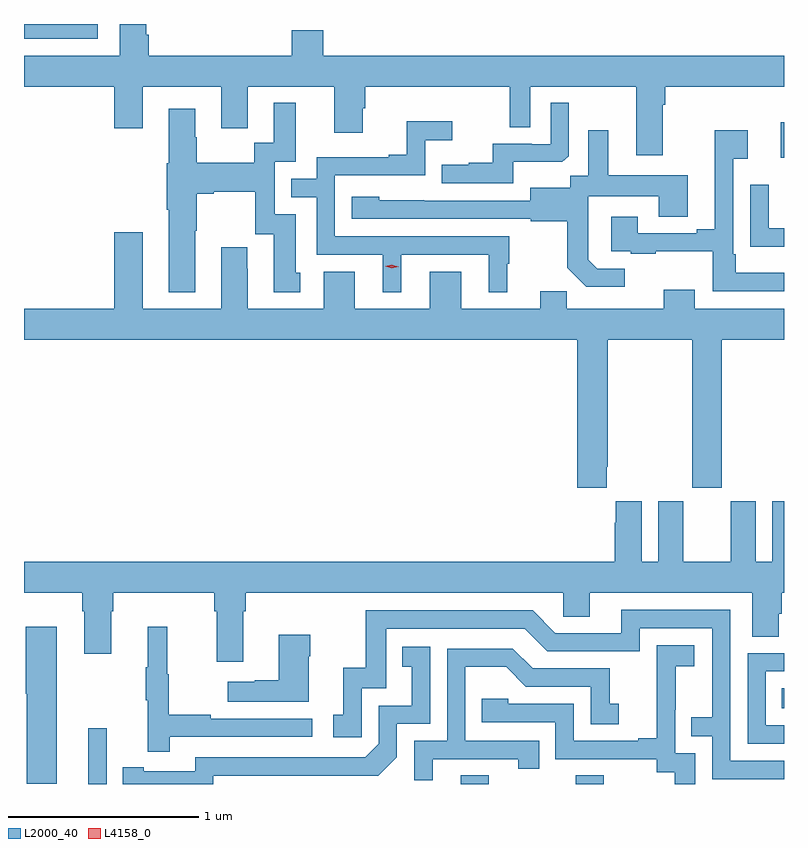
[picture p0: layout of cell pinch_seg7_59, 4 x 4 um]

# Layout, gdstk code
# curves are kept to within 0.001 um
import gdstk
lib = gdstk.Library(unit=1e-6, precision=1e-09)
def R(c, l, rs):  # rectangles x0, y0, x1, y1
    for r in rs: c.add(gdstk.rectangle(r[:2], r[2:], *l))
def P(c, l, *ps):  # polygons
    for p in ps: c.add(gdstk.Polygon(p, *l))
L2000_40 = (2000, 40)
L4158_0 = (4158, 0)

pinch_seg7_59 = lib.new_cell('pinch_seg7_59')
R(pinch_seg7_59, L2000_40, [(888.284,1076.866,888.381,1077.16), (890.243,1076.866,890.391,1076.912), (890.848,1076.866,890.995,1076.912), (891.934,1077.266,891.945,1077.37), (891.929,1080.162,891.945,1080.35), (887.945,1080.789,888.333,1080.866)])
P(pinch_seg7_59, L2000_40, [(891.307,1080.44),(891.32,1080.44),(891.32,1080.536),(891.945,1080.536),(891.945,1080.7),(889.52,1080.7),(889.52,1080.833),(889.355,1080.833),(889.355,1080.7),(888.602,1080.7),(888.602,1080.809),(888.588,1080.809),(888.588,1080.866),(888.449,1080.866),(888.449,1080.7),(887.945,1080.7),(887.945,1080.536),(888.419,1080.536),(888.419,1080.318),(888.571,1080.318),(888.571,1080.536),(888.983,1080.536),(888.983,1080.318),(889.123,1080.318),(889.123,1080.536),(889.577,1080.536),(889.577,1080.294),(889.729,1080.294),(889.729,1080.423),(889.742,1080.423),(889.742,1080.536),(890.502,1080.536),(890.502,1080.322),(890.61,1080.322),(890.61,1080.536),(891.167,1080.536),(891.167,1080.174),(891.307,1080.174)],
  [(888.847,1079.779),(888.855,1079.779),(888.855,1079.972),(888.943,1079.972),(888.943,1079.984),(889.163,1079.984),(889.163,1079.76),(889.259,1079.76),(889.259,1079.454),(889.399,1079.454),(889.399,1079.556),(889.375,1079.556),(889.375,1079.865),(889.266,1079.865),(889.266,1080.141),(889.375,1080.141),(889.375,1080.451),(889.259,1080.451),(889.259,1080.242),(889.158,1080.242),(889.158,1080.136),(888.855,1080.136),(888.855,1080.27),(888.847,1080.27),(888.847,1080.421),(888.707,1080.421),(888.707,1080.132),(888.695,1080.132),(888.695,1079.888),(888.707,1079.888),(888.707,1079.453),(888.847,1079.453)],
  [(890.521,1080.14),(890.779,1080.14),(890.811,1080.171),(890.811,1080.451),(890.718,1080.451),(890.718,1080.234),(890.618,1080.234),(890.618,1080.237),(890.411,1080.237),(890.411,1080.136),(890.287,1080.136),(890.287,1080.124),(890.143,1080.124),(890.143,1080.027),(890.521,1080.027)],
  [(889.93,1079.652),(890.39,1079.652),(890.39,1079.453),(890.488,1079.453),(890.488,1079.604),(890.5,1079.604),(890.5,1079.748),(889.581,1079.748),(889.581,1080.069),(890.058,1080.069),(890.058,1080.254),(890.2,1080.254),(890.2,1080.353),(889.96,1080.353),(889.96,1080.178),(889.865,1080.178),(889.865,1080.165),(889.485,1080.165),(889.485,1080.051),(889.351,1080.051),(889.351,1079.955),(889.485,1079.955),(889.485,1079.652),(889.832,1079.652),(889.832,1079.453),(889.93,1079.453)],
  [(891.945,1079.557),(891.691,1079.557),(891.691,1079.653),(891.678,1079.653),(891.678,1080.158),(891.754,1080.158),(891.754,1080.307),(891.581,1080.307),(891.581,1079.785),(891.485,1079.785),(891.485,1079.766),(891.175,1079.766),(891.175,1079.851),(891.035,1079.851),(891.035,1079.67),(891.139,1079.67),(891.139,1079.658),(891.271,1079.658),(891.271,1079.669),(891.57,1079.669),(891.57,1079.46),(891.945,1079.46)],
  [(891.106,1079.577),(890.961,1079.577),(890.914,1079.624),(890.914,1079.719),(890.916,1079.719),(890.916,1079.96),(891.287,1079.96),(891.287,1079.851),(891.439,1079.851),(891.439,1080.07),(891.019,1080.07),(891.019,1080.307),(890.915,1080.307),(890.915,1080.068),(890.82,1080.068),(890.82,1080.004),(890.609,1080.004),(890.609,1079.937),(889.815,1079.938),(889.815,1079.956),(889.671,1079.956),(889.671,1079.841),(890.613,1079.841),(890.613,1079.829),(890.805,1079.829),(890.805,1079.583),(890.905,1079.483),(891.106,1079.483)],
  [(891.945,1079.79),(891.864,1079.79),(891.864,1080.019),(891.768,1080.019),(891.768,1079.693),(891.945,1079.693)],
  [(891.013,1078.537),(891.018,1078.537),(891.018,1079.204),(891.463,1079.204),(891.463,1078.425),(891.618,1078.425),(891.618,1079.204),(891.945,1079.204),(891.945,1079.368),(891.475,1079.368),(891.475,1079.467),(891.311,1079.467),(891.311,1079.368),(890.801,1079.368),(890.801,1079.459),(890.663,1079.459),(890.663,1079.368),(890.245,1079.368),(890.245,1079.563),(890.081,1079.563),(890.081,1079.368),(889.687,1079.368),(889.687,1079.563),(889.523,1079.563),(889.523,1079.368),(889.123,1079.368),(889.123,1079.579),(889.12,1079.579),(889.12,1079.692),(888.983,1079.692),(888.983,1079.368),(888.571,1079.368),(888.571,1079.77),(888.419,1079.77),(888.419,1079.368),(887.945,1079.368),(887.945,1079.204),(890.858,1079.204),(890.858,1078.425),(891.013,1078.425)],
  [(891.884,1078.036),(891.796,1078.036),(891.796,1078.354),(891.665,1078.354),(891.665,1078.036),(891.415,1078.036),(891.415,1078.354),(891.284,1078.354),(891.284,1078.036),(891.196,1078.036),(891.196,1078.354),(891.059,1078.354),(891.059,1078.241),(891.053,1078.241),(891.053,1078.036),(887.945,1078.036),(887.945,1077.872),(888.251,1077.872),(888.251,1077.776),(888.263,1077.776),(888.263,1077.552),(888.403,1077.552),(888.403,1077.776),(888.416,1077.776),(888.416,1077.872),(888.947,1077.872),(888.947,1077.776),(888.959,1077.776),(888.959,1077.51),(889.099,1077.51),(889.099,1077.776),(889.112,1077.776),(889.112,1077.872),(890.784,1077.872),(890.784,1077.745),(890.923,1077.745),(890.923,1077.872),(891.779,1077.872),(891.779,1077.64),(891.918,1077.64),(891.918,1077.763),(891.932,1077.763),(891.932,1077.872),(891.945,1077.872),(891.945,1078.354),(891.884,1078.354)],
  [(891.945,1076.988),(891.663,1076.988),(891.663,1077.783),(891.089,1077.783),(891.089,1077.66),(890.742,1077.66),(890.622,1077.78),(889.743,1077.78),(889.743,1077.478),(889.625,1077.478),(889.625,1077.231),(889.572,1077.231),(889.572,1077.111),(889.722,1077.111),(889.722,1077.369),(889.851,1077.369),(889.851,1077.684),(890.58,1077.684),(890.7,1077.564),(891.186,1077.564),(891.186,1077.687),(891.567,1077.687),(891.567,1077.218),(891.457,1077.218),(891.457,1077.117),(891.567,1077.117),(891.567,1076.892),(891.945,1076.892)],
  [(888.118,1077.694),(887.954,1077.694),(887.954,1077.342),(887.96,1077.342),(887.96,1076.868),(888.118,1076.868)],
  [(888.713,1077.114),(889.462,1077.114),(889.462,1077.21),(888.929,1077.21),(888.929,1077.23),(888.706,1077.23),(888.706,1077.444),(888.698,1077.444),(888.698,1077.694),(888.596,1077.694),(888.596,1077.481),(888.585,1077.481),(888.585,1077.307),(888.596,1077.307),(888.596,1077.036),(888.713,1077.036)],
  [(889.444,1077.539),(889.452,1077.539),(889.452,1077.652),(889.286,1077.652),(889.286,1077.413),(889.16,1077.413),(889.16,1077.403),(889.017,1077.403),(889.017,1077.299),(889.444,1077.299)],
  [(891.477,1077.027),(891.372,1077.027),(891.372,1077.257),(891.374,1077.257),(891.374,1077.485),(891.472,1077.485),(891.472,1077.595),(891.274,1077.595),(891.274,1077.389),(891.275,1077.389),(891.275,1077.106),(891.179,1077.106),(891.179,1077.093),(890.838,1077.093),(890.838,1077.288),(890.493,1077.288),(890.493,1077.315),(890.353,1077.315),(890.353,1077.192),(890.742,1077.192),(890.742,1076.997),(891.276,1076.997),(891.276,1076.929),(891.369,1076.929),(891.369,1076.866),(891.477,1076.866)],
  [(888.942,1076.91),(889.81,1076.909),(889.908,1077.006),(889.908,1077.183),(890.082,1077.183),(890.082,1077.589),(889.936,1077.589),(889.936,1077.483),(889.985,1077.483),(889.985,1077.279),(889.812,1077.279),(889.812,1077.078),(889.74,1077.006),(888.846,1077.006),(888.846,1076.934),(888.574,1076.934),(888.574,1076.954),(888.466,1076.954),(888.466,1076.866),(888.942,1076.866)],
  [(890.095,1076.997),(890.546,1076.997),(890.546,1076.946),(890.657,1076.946),(890.657,1077.093),(890.268,1077.093),(890.268,1077.482),(890.482,1077.482),(890.586,1077.378),(890.928,1077.378),(890.928,1077.18),(891.076,1077.18),(891.076,1077.289),(891.027,1077.289),(891.027,1077.474),(890.623,1077.474),(890.518,1077.579),(890.172,1077.579),(890.172,1077.093),(889.998,1077.093),(889.998,1076.886),(890.095,1076.886)],
  [(891.945,1077.174),(891.849,1077.174),(891.849,1077.459),(891.945,1077.459),(891.945,1077.555),(891.753,1077.555),(891.753,1077.078),(891.945,1077.078)])
P(pinch_seg7_59, L4158_0, [(889.881,1079.58),(889.845,1079.59),(889.845,1079.59),(889.845,1079.59),(889.881,1079.6),(889.916,1079.589),(889.917,1079.589),(889.916,1079.589)])

lib.write_gds('pinch_seg7_59.gds')
